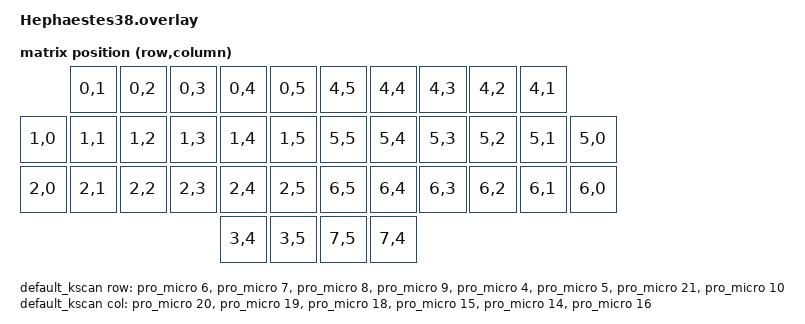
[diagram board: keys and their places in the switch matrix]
/*
 * Copyright (c) 2022 The ZMK Contributors
 *
 * SPDX-License-Identifier: MIT
 */
 
#include <dt-bindings/zmk/matrix_transform.h> // Put this with the other includes at the top of your overlay

#include "Hephaestes38-layouts.dtsi"

/{
    chosen {
        zmk,kscan = &default_kscan;
        zmk,physical-layout = &physical_layout0;
        //zmk,matrix_transform = &default_transform;
    };

    default_kscan: kscan {
        compatible = "zmk,kscan-gpio-matrix";
        label = "default_kscan";
        diode-direction = "row2col";

        row-gpios = <&pro_micro 6 GPIO_ACTIVE_HIGH>,
                    <&pro_micro 7 GPIO_ACTIVE_HIGH>,
                    <&pro_micro 8 GPIO_ACTIVE_HIGH>,
                    <&pro_micro 9 GPIO_ACTIVE_HIGH>,
                    <&pro_micro 4 GPIO_ACTIVE_HIGH>,
                    <&pro_micro 5 GPIO_ACTIVE_HIGH>,
                    <&pro_micro 21 GPIO_ACTIVE_HIGH>,
                    <&pro_micro 10 GPIO_ACTIVE_HIGH>;

        col-gpios = <&pro_micro 20 (GPIO_ACTIVE_HIGH | GPIO_PULL_DOWN)>,
                    <&pro_micro 19 (GPIO_ACTIVE_HIGH | GPIO_PULL_DOWN)>,
                    <&pro_micro 18 (GPIO_ACTIVE_HIGH | GPIO_PULL_DOWN)>,
                    <&pro_micro 15 (GPIO_ACTIVE_HIGH | GPIO_PULL_DOWN)>,
                    <&pro_micro 14 (GPIO_ACTIVE_HIGH | GPIO_PULL_DOWN)>,
                    <&pro_micro 16 (GPIO_ACTIVE_HIGH | GPIO_PULL_DOWN)>;
    };

    default_transform: matrix_transform {
        compatible = "zmk,matrix-transform";
        rows = <8>;
        columns = <6>;

        map = <
                        RC(0,1)     RC(0,2)     RC(0,3)     RC(0,4)     RC(0,5)     RC(4,5)     RC(4,4)     RC(4,3)     RC(4,2)     RC(4,1) 
            RC(1,0)     RC(1,1)     RC(1,2)     RC(1,3)     RC(1,4)     RC(1,5)     RC(5,5)     RC(5,4)     RC(5,3)     RC(5,2)     RC(5,1)     RC(5,0)
            RC(2,0)     RC(2,1)     RC(2,2)     RC(2,3)     RC(2,4)     RC(2,5)     RC(6,5)     RC(6,4)     RC(6,3)     RC(6,2)     RC(6,1)     RC(6,0)
                                                            RC(3,4)     RC(3,5)     RC(7,5)     RC(7,4)
        >;
    };
};

/ {
    chosen {
      zmk,battery = &vbatt;
    };

    vbatt: vbatt {
        compatible = "zmk,battery-nrf-vddh";
    };
}

&pinctrl {
    spi0_default: spi0_default {
        group1 {
            psels = <NRF_PSEL(SPIM_SCK, 0, 17)>,
                <NRF_PSEL(SPIM_MOSI, 0, 20)>,
                <NRF_PSEL(SPIM_MISO, 0, 25)>;
        };
    };
    spi0_sleep: spi0_sleep {
        group1 {
            psels = <NRF_PSEL(SPIM_SCK, 0, 17)>,
                <NRF_PSEL(SPIM_MOSI, 0, 20)>,
                <NRF_PSEL(SPIM_MISO, 0, 25)>;
            low-power-enable;
        };
    };
};

nice_view_spi: &spi0 {
    compatible = "nordic,nrf-spim";
    pinctrl-0 = <&spi0_default>;
    pinctrl-1 = <&spi0_sleep>;
    pinctrl-names = "default", "sleep";
    cs-gpios = <&pro_micro 1 GPIO_ACTIVE_HIGH>;
};

&pro_micro_i2c {
    status = "disabled";
};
